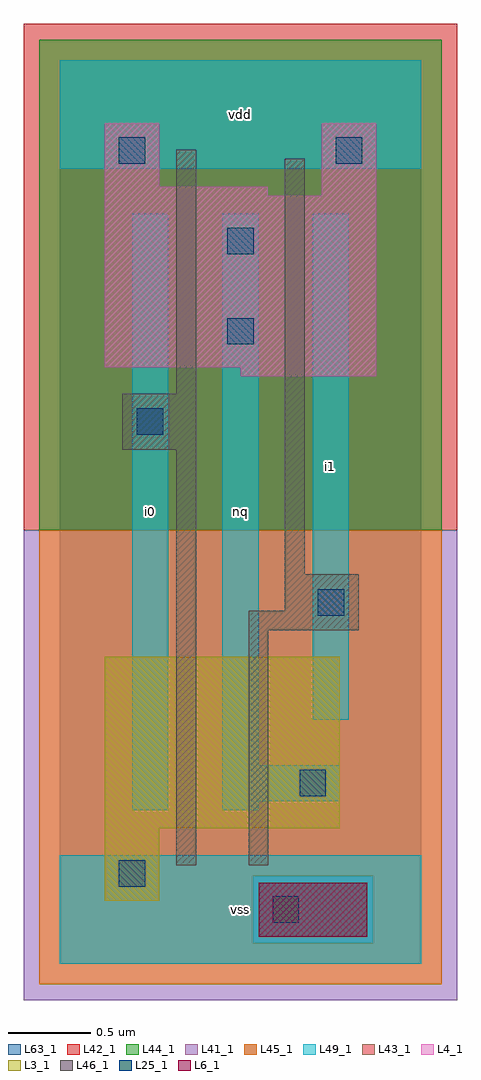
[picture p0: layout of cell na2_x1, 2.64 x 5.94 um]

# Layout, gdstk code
import gdstk
lib = gdstk.Library(unit=1e-6, precision=1e-09)
def R(c, l, rs):  # rectangles x0, y0, x1, y1
    for r in rs: c.add(gdstk.rectangle(r[:2], r[2:], *l))
L3_1 = (3, 1)
L4_1 = (4, 1)
L6_1 = (6, 1)
L25_1 = (25, 1)
L41_1 = (41, 1)
L42_1 = (42, 1)
L43_1 = (43, 1)
L44_1 = (44, 1)
L45_1 = (45, 1)
L46_1 = (46, 1)
L49_1 = (49, 1)
L63_1 = (63, 1)

na2_x1 = lib.new_cell('na2_x1')
R(na2_x1, L3_1, [(0.275,0.385,0.605,0.825), (0.275,0.825,1.705,1.87)])
R(na2_x1, L4_1, [(1.1,3.575,1.925,3.63), (0.275,3.63,1.925,4.675), (0.275,4.675,1.265,4.73), (1.595,4.675,1.925,5.115), (0.275,4.73,0.605,5.115)])
R(na2_x1, L6_1, [(1.21,0.165,1.87,0.495)])
R(na2_x1, L25_1, [(1.295,0.25,1.455,0.41), (0.36,0.47,0.52,0.63), (1.46,1.02,1.62,1.18), (1.57,2.12,1.73,2.28), (0.47,3.22,0.63,3.38), (1.02,3.77,1.18,3.93), (1.02,4.32,1.18,4.48), (0.36,4.87,0.52,5.03), (1.68,4.87,1.84,5.03)])
R(na2_x1, L41_1, [(-0.22,-0.22,2.42,2.64)])
R(na2_x1, L42_1, [(-0.22,2.64,2.42,5.72)])
R(na2_x1, L43_1, [(1.21,0.165,1.87,0.495), (0.275,0.385,0.605,0.825), (0.275,0.825,1.705,1.87), (1.1,3.575,1.925,3.63), (0.275,3.63,1.925,4.675), (0.275,4.675,1.265,4.73), (1.595,4.675,1.925,5.115), (0.275,4.73,0.605,5.115)])
R(na2_x1, L44_1, [(1.17,0.125,1.91,0.535), (-0.125,2.64,2.325,5.625)])
R(na2_x1, L45_1, [(-0.125,-0.125,2.325,0.125), (-0.125,0.125,1.17,0.535), (1.91,0.125,2.325,0.535), (-0.125,0.535,2.325,2.64)])
R(na2_x1, L46_1, [(0.71,0.6,0.83,3.13), (1.15,0.6,1.27,2.03), (1.15,2.03,1.82,2.15), (1.37,2.15,1.82,2.37), (1.37,2.37,1.49,4.9), (0.38,3.13,0.83,3.47), (0.71,3.47,0.83,4.955)])
R(na2_x1, L49_1, [(0,0,2.2,0.66), (0.44,0.935,0.66,4.565), (0.99,0.935,1.21,0.99), (0.99,0.99,1.705,1.21), (0.99,1.21,1.21,4.565), (1.54,1.485,1.76,4.565), (0,4.84,2.2,5.5)])
R(na2_x1, L63_1, [(0,0,2.2,5.5)])
na2_x1.add(gdstk.Label('i0', (0.55,2.75), layer=49, texttype=1))
na2_x1.add(gdstk.Label('vss', (1.1,0.33), layer=49, texttype=1))
na2_x1.add(gdstk.Label('nq', (1.1,2.75), layer=49, texttype=1))
na2_x1.add(gdstk.Label('vdd', (1.1,5.17), layer=49, texttype=1))
na2_x1.add(gdstk.Label('i1', (1.65,3.025), layer=49, texttype=1))

lib.write_gds('na2_x1.gds')
